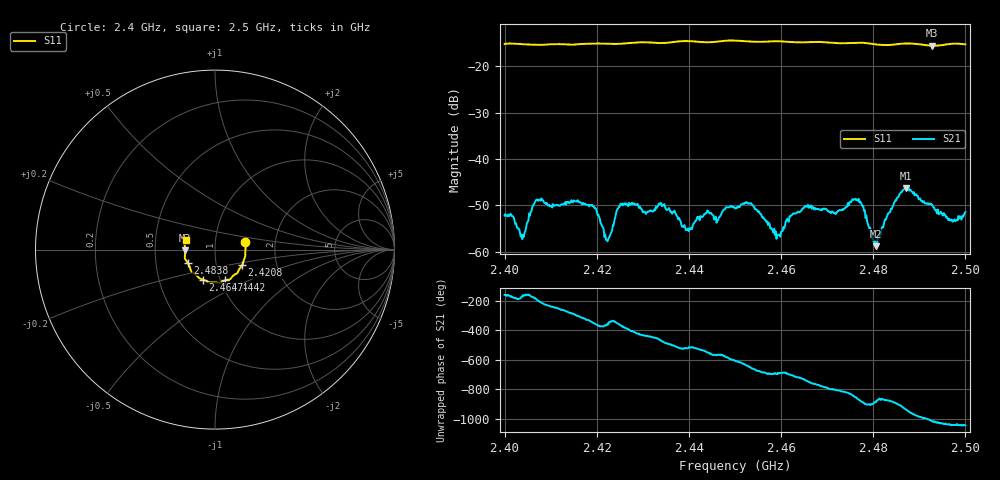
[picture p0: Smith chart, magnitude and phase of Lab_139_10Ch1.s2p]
# Hz S RI R 50
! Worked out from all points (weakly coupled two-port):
!   601 points, 2.4 GHz to 2.5 GHz, reference 50 ohm
!   highest |S21| = -46.22 dB at 2.4872 GHz (marker M1); lowest = -58.8 dB at 2.4805 GHz (marker M2)
!   lowest |S11| = -15.6 dB at 2.4928 GHz (marker M3), VSWR 1.40, Z = 35.8 - j0.365 ohm
!   |S11| at or under -10 dB: start of sweep to end of sweep
!   S12 and S22 are empty: the file has one direction only
!   S11 on the Smith chart (normalised r, x): 2.4 GHz: 1.40, +0.12; 2.4208 GHz: 1.33, -0.24; 2.4442 GHz: 1.05, -0.37; 2.4647 GHz: 0.83, -0.29; 2.4838 GHz: 0.73, -0.11; 2.5 GHz: 0.72, +0.08
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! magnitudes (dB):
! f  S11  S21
! 2.4 GHz  -15.2  -52.2
! 2.4038 GHz  -15.3  -57.3
! 2.4072 GHz  -15.4  -48.8
! 2.4167 GHz  -15.3  -49.6
! 2.4208 GHz  -15.2  -53.8
! 2.4225 GHz  -15.2  -57.3
! 2.4253 GHz  -15.2  -49.8
! 2.4333 GHz  -15.0  -50.0
! 2.4398 GHz  -14.6  -54.9
! 2.4442 GHz  -14.9  -51.2
! 2.45 GHz  -14.5  -50.5
! 2.4537 GHz  -14.8  -49.9
! 2.4595 GHz  -14.7  -56.3
! 2.4647 GHz  -14.9  -50.8
! 2.4667 GHz  -14.8  -50.7
! 2.4767 GHz  -15.0  -49.0
! 2.4805 GHz  -15.3  -58.8
! 2.4833 GHz  -15.5  -51.6
! 2.4838 GHz  -15.4  -50.7
! 2.4872 GHz  -15.1  -46.2
! 2.4928 GHz  -15.6  -49.9
! 2.5 GHz  -15.3  -51.4
